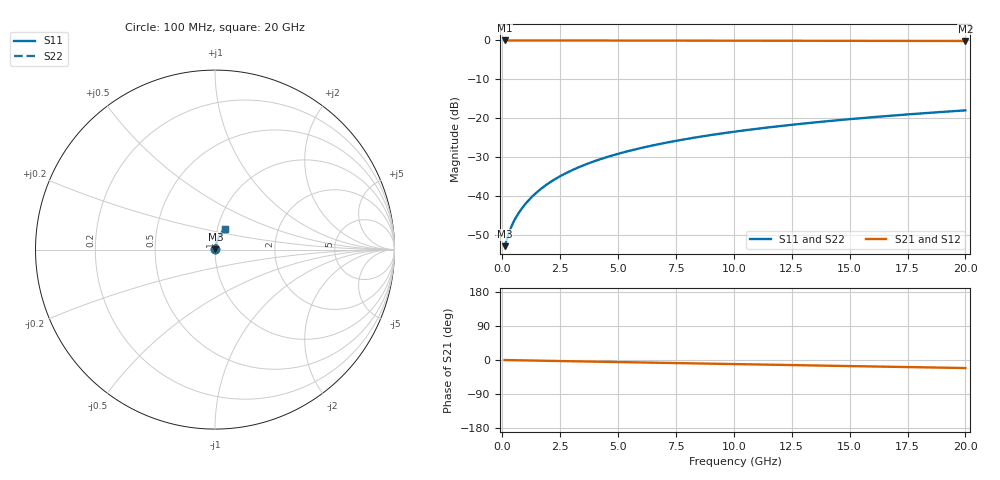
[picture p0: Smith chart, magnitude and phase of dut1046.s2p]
! Touchstone file exported from HFSS 2026.1.0
!  File:  C:/ffzhzh/LocalFiles/Ansys_Project_Files/temp_train_BSMRDL_1046_1783173845_43440.aedt
!  Generated:  10:05:15 PM Jul  4, 2026
!  Design:  BSMRDL
!  Project:  temp_train_BSMRDL_1046_1783173845_43440
! Variables:
!  h_bsmrdl = 3.45um
!  h_ox = 20um
!  h_rdl = 5um
!  h_sub = 80um
!  h_tmrdl = 5um
!  h_tsv = 80um
!  h_via = 3um
!  l_bsmrdl = 342.33um
!  l_sub = 742.33um
!  l_tmrdl = 200um
!  m_sub = 200um
!  pitch = 28.74um
!  r_tsv = 6um
!  s_tmrdl = 10um
!  w_bsmrdl = 19.06um
!  w_sub = 500um
!  w_tmrdl = 12um
!  x_tsv_center1 = 206um
!  x_tsv_center2 = 567.39um
!  x_tsv_center3 = 779.39um
!  x_tsv_center4 = 1140.78um
!  x_tsv_center5 = 1352.78um
!  x_tsv_center6 = 1714.17um
# GHz S MA R 50.000000
! Terminal data exported
! Port[1] = BSM_RDL1_1_T1
! Port[2] = BSM_RDL1_1_T2
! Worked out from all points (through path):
!   200 points, 100 MHz to 20 GHz, reference 50 ohm
!   highest |S21| = -0.02 dB at 100 MHz (marker M1); lowest = -0.2 dB at 20 GHz (marker M2)
!   group delay of S21, straight-line fit = 2.94 ps
!   lowest |S11| = -53.0 dB at 100 MHz (marker M3), VSWR 1.00, Z = 50.2 + j0.0892 ohm
!   |S11| at or under -10 dB: start of sweep to end of sweep
!   |S22| runs from -53.0 to -18.0 dB; largest |S21 - S12| = 4.3e-15
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0.1  0.002243 23.3  0.9979 -0.1  0.9979 -0.1  0.002243 23.3
! Gamma 0 0 0 0
! Port Impedance 50 0 50 0
0.3  0.00341 47.3  0.9977 -0.4  0.9977 -0.4  0.00341 47.3
0.4  0.004054 52.8  0.9976 -0.5  0.9976 -0.5  0.004054 52.9
0.5  0.00469 56.8  0.9975 -0.6  0.9975 -0.6  0.00469 56.8
0.6  0.00532 59.9  0.9974 -0.7  0.9974 -0.7  0.005321 59.9
0.8  0.006581 64.5  0.9973 -0.9  0.9973 -0.9  0.006581 64.5
1  0.007859 67.9  0.9972 -1.1  0.9972 -1.1  0.007859 67.9
1.2  0.009156 70.3  0.9971 -1.3  0.9971 -1.3  0.009156 70.3
1.4  0.01047 72.1  0.997 -1.6  0.997 -1.6  0.01047 72.1
1.7  0.01247 74.1  0.9969 -1.9  0.9969 -1.9  0.01247 74.1
2.2  0.01583 76.1  0.9968 -2.4  0.9968 -2.4  0.01583 76.1
2.8  0.01989 77.3  0.9965 -3.1  0.9965 -3.1  0.01989 77.3
3.5  0.02462 77.9  0.9962 -3.8  0.9962 -3.8  0.02462 77.9
4.2  0.02932 77.9  0.9958 -4.6  0.9958 -4.6  0.02932 77.9
5  0.03465 77.7  0.9953 -5.5  0.9953 -5.5  0.03465 77.7
5.9  0.04058 77.2  0.9946 -6.4  0.9946 -6.4  0.04058 77.2
6.8  0.04643 76.5  0.994 -7.4  0.994 -7.4  0.04643 76.5
8.3  0.05601 75.3  0.9928 -9.0  0.9928 -9.0  0.05601 75.3
10.1  0.06727 73.7  0.9914 -10.9  0.9914 -10.9  0.06727 73.7
13.4  0.08734 70.7  0.9887 -14.4  0.9887 -14.4  0.08734 70.7
16.7  0.1068 67.7  0.9858 -17.8  0.9858 -17.8  0.1068 67.7
20  0.1256 64.6  0.9828 -21.2  0.9828 -21.2  0.1256 64.6
